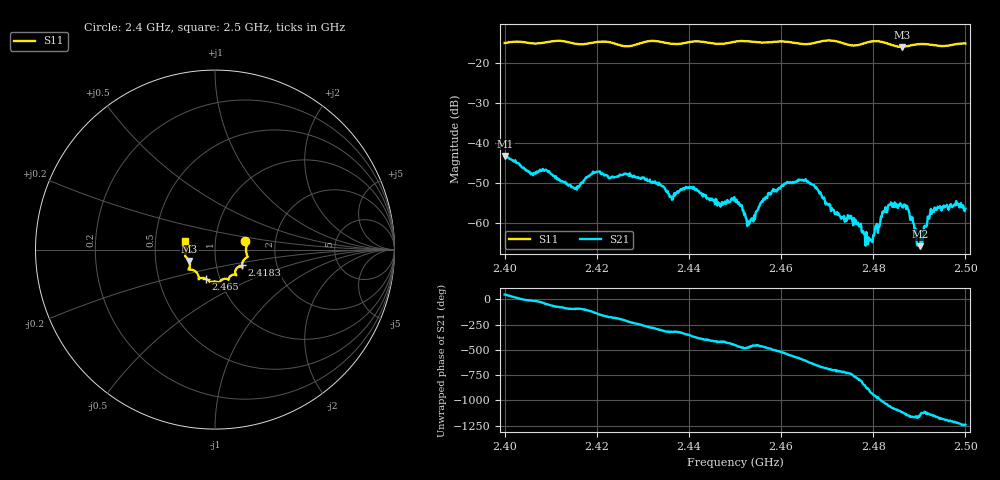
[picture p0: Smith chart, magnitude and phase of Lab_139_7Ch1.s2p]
# Hz S RI R 50
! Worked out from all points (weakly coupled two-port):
!   601 points, 2.4 GHz to 2.5 GHz, reference 50 ohm
!   highest |S21| = -43.29 dB at 2.4002 GHz (marker M1); lowest = -65.8 dB at 2.4902 GHz (marker M2)
!   lowest |S11| = -16.1 dB at 2.4862 GHz (marker M3), VSWR 1.37, Z = 37.2 - j4.81 ohm
!   |S11| at or under -10 dB: start of sweep to end of sweep
!   S12 and S22 are empty: the file has one direction only
!   S11 on the Smith chart (normalised r, x): 2.4 GHz: 1.40, +0.14; 2.4183 GHz: 1.33, -0.24; 2.465 GHz: 0.86, -0.28; 2.5 GHz: 0.71, +0.07
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2.4e9  0.169 0.0469  0.00466 0.0049  0 0  0 0
2.400167e9  0.1699 0.046  0.00476 0.00493  0 0  0 0
2.405667e9  0.1737 0.0123  0.00396 -0.000772  0 0  0 0
2.415167e9  0.164 -0.0533  -0.00017 -0.00268  0 0  0 0
2.416667e9  0.1549 -0.0683  -0.000347 -0.00311  0 0  0 0
2.418333e9  0.1502 -0.0871  -0.00152 -0.00351  0 0  0 0
2.433333e9  0.1176 -0.1409  0.00139 0.00262  0 0  0 0
2.436167e9  0.0985 -0.1403  0.0016 0.00138  0 0  0 0
2.4405e9  0.0754 -0.1655  0.00279 -7.52e-05  0 0  0 0
2.446667e9  0.0474 -0.1638  0.00084 -0.00151  0 0  0 0
2.45e9  0.0262 -0.1803  -9.81e-05 -0.00188  0 0  0 0
2.453167e9  0.0182 -0.1827  -0.000398 -0.000913  0 0  0 0
2.457833e9  -0.0159 -0.1789  -0.00154 -0.00173  0 0  0 0
2.465e9  -0.0526 -0.1615  -0.00154 0.00294  0 0  0 0
2.466667e9  -0.0714 -0.1576  8.26e-05 0.00301  0 0  0 0
2.479333e9  -0.1443 -0.1111  -0.000592 0.000197  0 0  0 0
2.483333e9  -0.1411 -0.0965  0.00151 0.000744  0 0  0 0
2.486167e9  -0.1436 -0.0632  0.00133 -0.00096  0 0  0 0
2.487333e9  -0.1514 -0.0517  0.000804 -0.00142  0 0  0 0
2.490167e9  -0.1662 -0.0369  0.000205 -0.000469  0 0  0 0
2.492833e9  -0.1642 -0.0218  0.00056 -0.00124  0 0  0 0
2.5e9  -0.1665 0.0468  -0.00141 -0.00053  0 0  0 0
